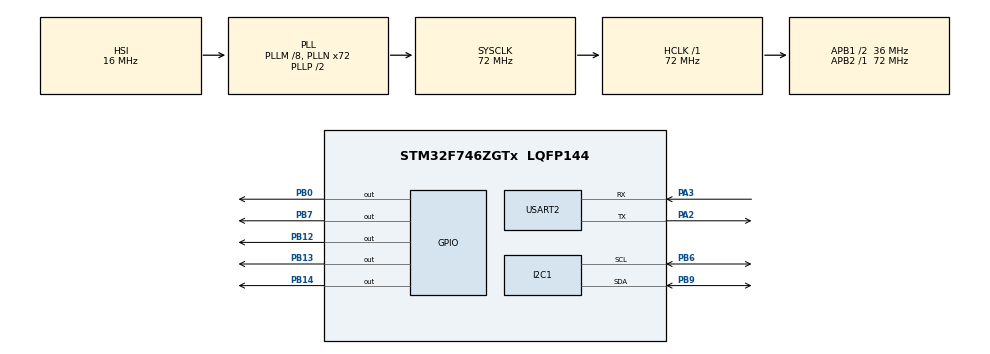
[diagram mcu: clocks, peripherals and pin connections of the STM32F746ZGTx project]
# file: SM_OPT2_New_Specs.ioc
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I2C1.Timing=0x00808CD2
Mcu.Family=STM32F7
Mcu.Name=STM32F746ZGTx
Mcu.Package=LQFP144
NVIC.I2C1_ER_IRQn=true\:0\:0\:false\:false\:true\:true\:true
NVIC.I2C1_EV_IRQn=true\:0\:0\:false\:false\:true\:true\:true
NVIC.PriorityGroup=NVIC_PRIORITYGROUP_4
NVIC.TIM2_IRQn=true\:1\:0\:true\:false\:true\:true\:true
NVIC.TIM3_IRQn=true\:0\:0\:false\:false\:true\:true\:true
NVIC.USART2_IRQn=true\:0\:0\:false\:false\:true\:true\:true
PA13.Mode=Serial_Wire
PA13.Signal=SYS_JTMS-SWDIO
PA14.Mode=Serial_Wire
PA14.Signal=SYS_JTCK-SWCLK
PA2.Mode=Asynchronous
PA2.Signal=USART2_TX
PA3.Mode=Asynchronous
PA3.Signal=USART2_RX
PB0.Signal=GPIO_Output
PB12.Signal=GPIO_Output
PB13.Signal=GPIO_Output
PB14.Signal=GPIO_Output
PB6.Mode=I2C
PB6.Signal=I2C1_SCL
PB7.Signal=GPIO_Output
PB9.Mode=I2C
PB9.Signal=I2C1_SDA
ProjectManager.HeapSize=0x200
ProjectManager.StackSize=0x400
ProjectManager.TargetToolchain=STM32CubeIDE
RCC.48MHZClocksFreq_Value=24000000
RCC.AHBFreq_Value=72000000
RCC.APB1CLKDivider=RCC_HCLK_DIV2
RCC.APB1Freq_Value=36000000
RCC.APB1TimFreq_Value=72000000
RCC.APB2Freq_Value=72000000
RCC.APB2TimFreq_Value=72000000
RCC.CortexFreq_Value=72000000
RCC.HCLKFreq_Value=72000000
RCC.HSE_VALUE=8000000
RCC.HSI_VALUE=16000000
RCC.LSE_VALUE=32768
RCC.PLLM=8
RCC.PLLMUL=RCC_PLL_MUL9
RCC.PLLN=72
RCC.PLLQ=3
RCC.PRESCALERUSB=RCC_USBCLKSOURCE_PLL_DIV1_5
RCC.SYSCLKFreq_VALUE=72000000
RCC.SYSCLKSource=RCC_SYSCLKSOURCE_PLLCLK
RCC.SYSCLKSourceVirtual=RCC_SYSCLKSOURCE_PLLCLK
RCC.USBFreq_Value=48000000
RCC.VCOOutputFreq_Value=144000000
TIM2.Period=1000-1
TIM2.Prescaler=7200-1
TIM3.Period=100-1
TIM3.Prescaler=7200-1
TIM4.Prescaler=72-1
USART2.VirtualMode-Asynchronous=VM_ASYNC
VP_TIM2_VS_ClockSourceINT.Mode=Internal
VP_TIM3_VS_ClockSourceINT.Mode=Internal
VP_TIM4_VS_ClockSourceINT.Mode=Internal
board=NUCLEO-F746ZG

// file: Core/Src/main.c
/* USER CODE BEGIN Header */
/**
 ******************************************************************************
 * @file           : main.c
 * @brief          : Main program body
 ******************************************************************************
 * @attention
 *
 * <h2><center>&copy; Copyright (c) 2021 STMicroelectronics.
 * All rights reserved.</center></h2>
 *
 * This software component is licensed by ST under BSD 3-Clause license,
 * the "License"; You may not use this file except in compliance with the
 * License. You may obtain a copy of the License at:
 *                        opensource.org/licenses/BSD-3-Clause
 *
 ******************************************************************************
 */
/* USER CODE END Header */
#include "main.h"

/* USER CODE BEGIN Includes */
#include "stdbool.h"
#include "timer_delay.h"
#include "Getbattery1asoc.h"
#include "Handle_Gpio_pins.h"
#include "Timer_function.h"

/* USER CODE END Includes */

I2C_HandleTypeDef hi2c1;

TIM_HandleTypeDef htim2;
TIM_HandleTypeDef htim3;
TIM_HandleTypeDef htim4;

UART_HandleTypeDef huart2;

/* USER CODE BEGIN PV */

// Maintenance cycle BAT 1 definitions

bool _bat1timerfunc = false;		// Flag to start and stop the 15 min wait function
bool _bat1_15min_wait_over = false;  		// To indicate 15 min delay is over
uint16_t _bat1_counter_var = 0;				//   Variable as a counter
int8_t bat1_state=0;  						// Indicates the current state in Maintenance cycle

uint16_t BAT_1_ASOC_VALUE;

bool bat1charge = false;				// Flag to start and stop charging of the battery
bool bat1discharge = false;				// Flag to start and stop discharging of the battery

bool state1guard = false;
bool state2guard = false;
bool state3guard = false;
bool state4guard = false;
bool state5guard = false;
bool state6guard = false;
bool state7guard = false;

bool Autotestflag = true;				// Flag to start automatic testing of the maintenance cycle

uint8_t rx_buffer[3];

// Maintenance cycle BAT 1 definitions - End

// Flags to update the general information of battery in Maintenance Use Case

uint16_t bat1_geninfo_cycle_counter = 0;
uint16_t bat1_geninfo_asoc_counter = 0;
uint16_t bat1_geninfo_remainingcapacity_counter = 0;
uint16_t bat1_geninfo_voltage_counter = 0;
uint16_t bat1_geninfo_temperature_counter = 0;
uint16_t bat1_geninfo_batterystatus_counter = 0;

bool bat1_geninfo_cycle_flag = false;
bool bat1_geninfo_asoc_flag = false;
bool bat1_geninfo_remainingcapacity_flag = false;
bool bat1_geninfo_voltage_flag = false;
bool bat1_geninfo_temperature_flag = false;
bool bat1_geninfo_batterystatus_flag = false;

// Flags to update the general information of battery in Maintenance Use Case

uint8_t tx_asoc[1]={0x0E}; 					// 0x0E   Command to get ASOC of the battery
uint8_t tx_voltage[1]={0x09};				// 0x09   Command to get battery voltage
uint8_t tx_current[1]={0x0A};				// 0x0A   Command to get battery current
uint8_t tx_temperature[1]={0x08};			// 0x08
uint8_t tx_battery_status[1]={0x16};		// 0x16
uint8_t tx_remaining_capacity[1]={0x0F};	// 0x0F
uint8_t tx_cyclecount[1]={0x17};			// 0x17
uint8_t tx_serial_number[1]={0x1C};			// 0x1C
uint8_t tx_manufacturer_date[1]={0x1B};		// 0x1B
uint8_t tx_full_charge_capacity[1]={0x10};	// 0x10
uint8_t tx_design_capacity[1]={0x18};		// 0x18
uint8_t tx_run_timet_to_empty[1]={0x11};	// 0x11

uint16_t Bat1_Volt_Maint_GI;  //16 bit value
uint8_t Bat1_Asoc_Maint_GI;   // 8 bit value
int16_t Bat1_Temperature_Maint_GI;
uint16_t Bat1_RemCapacity_Maint_GI;
uint16_t Bat1_Cyclecount_Maint_GI;

float temp;

/* USER CODE END PV */

void SystemClock_Config(void);
static void MX_GPIO_Init(void);
static void MX_I2C1_Init(void);
static void MX_TIM3_Init(void);
static void MX_TIM4_Init(void);
static void MX_USART2_UART_Init(void);
static void MX_TIM2_Init(void);

int main(void)
{

	/* MCU Configuration--------------------------------------------------------*/

	/* Reset of all peripherals, Initializes the Flash interface and the Systick. */
	HAL_Init();

	/* Configure the system clock */
	SystemClock_Config();

	/* Initialize all configured peripherals */
	MX_GPIO_Init();
	MX_I2C1_Init();
	MX_TIM3_Init();
	MX_TIM4_Init();
	MX_USART2_UART_Init();
	MX_TIM2_Init();
	/* USER CODE BEGIN 2 */
	HAL_TIM_Base_Start(&htim4);        // Timer 4 for providing delay
	HAL_TIM_Base_Start_IT(&htim3);	   // Timer 3 for waiting purpose in the maintenance case
	HAL_TIM_Base_Start_IT(&htim2);	   // Timer 2 to update the maintenance use case parameters periodically

	if(HAL_I2C_IsDeviceReady(&hi2c1,0x16, 5, 10)==HAL_OK)
	{

		HAL_GPIO_WritePin(GPIOB, GPIO_PIN_7, GPIO_PIN_SET);

	}

	__HAL_UART_ENABLE_IT(&huart2,UART_IT_RXNE);

	/* USER CODE END 2 */
	HAL_GPIO_WritePin(GPIOB, GPIO_PIN_12, GPIO_PIN_SET);
	/* Infinite loop */
	/* USER CODE BEGIN WHILE */
	while (1)
	{

		// Maintenance cycle
		//	  		switch(bat1_state)
		//	  		{
		//
		//	  		case 0:
		//
		//	  			bat1charge = false;
		//	  			bat1discharge = false;
		//	  			gpio_func();
		//
		//	  			if(Autotestflag==true)
		//	  			{
		//	  				getbattery1asoc();
		//	  				if(BAT_1_ASOC_VALUE==77)
		//	  				{
		//	  					bat1_state = 1;
		//	  				}
		//
		//	  				else if(BAT_1_ASOC_VALUE <77)
		//	  				{
		//	  					bat1_state = 2;
		//	  				}
		//
		//	  				else if(BAT_1_ASOC_VALUE >77)
		//	  				{
		//	  					bat1_state = 3;
		//	  				}
		//	  			}
		//
		//	  			break;
		//
		//	  		case 1:
		//
		//	  			if(state1guard == false)
		//	  			{
		//	  				bat1charge = false;
		//	  				bat1discharge = false;
		//	  				gpio_func();
		//	  				_bat1timerfunc = true;
		//	  				state1guard = true;
		//	  			}
		//
		//	  			else if(state1guard == true)
		//	  			{
		//	  				if(_bat1_15min_wait_over==true)
		//	  				{
		//	  					bat1_state = 4;
		//	  					state1guard = false;
		//	  				}
		//	  			}
		//
		//	  			break;
		//
		//	  		case 2:
		//
		//	  			if(state2guard == false)
		//	  			{
		//	  				bat1charge = true;
		//	  				bat1discharge = false;
		//	  				gpio_func();
		//	  				state2guard = true;
		//	  			}
		//
		//	  			else if(state2guard == true)
		//	  			{
		//	  				getbattery1asoc();
		//	  				if(BAT_1_ASOC_VALUE == 77)
		//	  				{
		//	  					bat1_state = 1;
		//	  					state2guard = false;
		//	  				}
		//	  			}
		//	  			break;
		//
		//
		//
		//
		//	  		case 3:
		//	  			if(state3guard == false)
		//	  			{
		//	  				bat1discharge = true;
		//	  				bat1charge = false;
		//	  				gpio_func();
		//	  				state3guard = true;
		//	  			}
		//
		//	  			else if(state3guard == true)
		//	  			{
		//	  				getbattery1asoc();
		//	  				if(BAT_1_ASOC_VALUE == 77)
		//	  				{
		//	  					bat1_state = 1;
		//	  					state3guard = false;
		//	  				}
		//	  			}
		//	  			break;
		//
		//	  		case 4:
		//
		//	  			if(state4guard==false)
		//	  			{
		//	  				bat1discharge = true;
		//	  				bat1charge = false;
		//	  				gpio_func();
		//	  				state4guard = true;
		//	  				_bat1timerfunc=false;
		//	  				_bat1_15min_wait_over=false;
		//	  				_bat1_counter_var = 0;
		//	  			}
		//
		//	  			else if(state4guard==true)
		//	  			{
		//
		//	  				getbattery1asoc();
		//	  				if(BAT_1_ASOC_VALUE==75)
		//	  				{
		//	  					bat1_state = 5;
		//	  					state4guard=false;
		//	  				}
		//
		//	  			}
		//	  			break;
		//
		//	  		case 5:
		//	  			if(state5guard==false)
		//	  			{
		//	  				bat1charge=false;
		//	  				bat1discharge=false;
		//	  				gpio_func();
		//	  				_bat1timerfunc=true;
		//	  				state5guard=true;
		//	  			}
		//	  			else if(state5guard==true)
		//	  			{
		//
		//	  				if(_bat1_15min_wait_over==true)
		//	  				{
		//	  					bat1_state=6;
		//	  					state5guard=false;
		//	  				}
		//	  			}
		//	  			break;
		//
		//	  		case 6:
		//	  			if(state6guard == false)
		//	  			{
		//	  				bat1charge=true;
		//	  				bat1discharge=false;
		//	  				gpio_func();
		//	  				state6guard = true;
		//	  				_bat1timerfunc = false;
		//	  				_bat1_15min_wait_over=false;
		//	  				_bat1_counter_var = 0;
		//	  			}
		//	  			else if(state6guard==true)
		//	  			{
		//	  				getbattery1asoc();
		//	  				if(BAT_1_ASOC_VALUE==77)
		//	  				{
		//	  					bat1_state=7;
		//	  					state6guard=false;
		//	  				}
		//	  			}
		//	  			break;
		//
		//	  		case 7:
		//	  			if(state7guard==false)
		//	  			{
		//	  				bat1discharge=false;
		//	  				bat1charge=false;
		//	  				gpio_func();
		//	  				_bat1timerfunc=true;
		//	  				state7guard=true;
		//
		//	  			}
		//	  			else if(state7guard==true)
		//	  			{
		//	  				if(_bat1_15min_wait_over==true)
		//	  				{
		//	  					bat1_state=0;
		//	  					state7guard=false;
		//	  					_bat1timerfunc=false;
		//	  					_bat1_15min_wait_over=false;
		//	  					_bat1_counter_var = 0;
		//	  					Autotestflag = false;
		//
		//	  				}
		//	  			}
		//	  			break;
		//
		//	  		default:
		//	  			bat1_state = 0;
		//	  			break;
		//	  		}
		//
		//	  		msdelay(10);

		// Maintenance cycle End /////////////////////

		//HAL_UART_Transmit_IT(&huart2, tx, 2);
		//msdelay(100);

		/* Works with GUI on the Pi Start

		uint8_t tx[1]={0x09};
		uint8_t rx[2]={0x00};

		HAL_I2C_Master_Transmit_IT(&hi2c1, 0x16, tx, 1);
		msdelay(5);
		HAL_I2C_Master_Receive_IT(&hi2c1, 0x16, rx, 2);
		msdelay(1);

		voltage = rx[1];
		voltage = voltage << 8; //--
		voltage  = voltage + rx[0]; //--

		uint8_t tx2[1]={0x0A};
		uint8_t rx2[2]={0x00};
		HAL_I2C_Master_Transmit_IT(&hi2c1, 0x16, tx2, 1);
		msdelay(5);
		HAL_I2C_Master_Receive_IT(&hi2c1, 0x16, rx2, 2);
		msdelay(1);
		 current  = rx2[1];
		current = current << 8;
		current = current  + rx2[0];

		uint8_t tx3[1]={0x0D};
		uint8_t rx3[1]={0x00};
		HAL_I2C_Master_Transmit_IT(&hi2c1, 0x16, tx3, 1);
		msdelay(5);
		HAL_I2C_Master_Receive_IT(&hi2c1, 0x16, rx3,2);
		msdelay(1);
		 rsoc  = rx3[0];

		uint8_t tx6[1]={0x0E};
		uint8_t rx6[2]={0x00};
		HAL_I2C_Master_Transmit_IT(&hi2c1, 0x16, tx6, 1);
		msdelay(5);
		HAL_I2C_Master_Receive_IT(&hi2c1, 0x16, rx6, 2);
		msdelay(1);
		 asoc  = rx6[0];

		uint8_t t2x[6];
		t2x[0]=rx[1];
		t2x[1]=rx[0];
		t2x[2]=rx2[1];
		t2x[3]=rx2[0];
		t2x[4]=rx3[0];
		t2x[5]=rx6[0];

		HAL_UART_Transmit_IT(&huart2, t2x, 6);
		msdelay(500);
		rx6[0]=0;

		rx3[0]=0;

		rx2[0]=0;
		rx2[1]=0;
		rx[1]=0;
		rx[0]=0;
 Works with GUI on the Pi end
		 */

		// Update ASOC  -  General Info Bat 1 Maintenance Use Case
		if(bat1_geninfo_asoc_flag==true)
		{
			bat1_geninfo_asoc_flag=false;

			uint8_t rx_geninfo_asoc[1]={0x00};
			HAL_I2C_Master_Transmit_IT(&hi2c1, 0x16, tx_asoc, 1);
			msdelay(5);
			HAL_I2C_Master_Receive_IT(&hi2c1, 0x16, rx_geninfo_asoc, 1);
			msdelay(1);
			Bat1_Asoc_Maint_GI= rx_geninfo_asoc[0];

			uint8_t transmit_asoc[2]={0x00};
			transmit_asoc[0]='A';
			transmit_asoc[1]=rx_geninfo_asoc[0];
			HAL_UART_Transmit_IT(&huart2, transmit_asoc, 2);
			rx_geninfo_asoc[0]=0;

		}

		// Update Voltage  -  General Info Bat 1 Maintenance Use Case
		if(bat1_geninfo_voltage_flag==true)
		{
			bat1_geninfo_voltage_flag=false;

			uint8_t rx_geninfo_voltage[2]={0x00};
			HAL_I2C_Master_Transmit_IT(&hi2c1, 0x16, tx_voltage, 1);
			msdelay(5);
			HAL_I2C_Master_Receive_IT(&hi2c1, 0x16, rx_geninfo_voltage, 2);
			msdelay(1);
			Bat1_Volt_Maint_GI = rx_geninfo_voltage[1];
			Bat1_Volt_Maint_GI = Bat1_Volt_Maint_GI << 8;
			Bat1_Volt_Maint_GI = Bat1_Volt_Maint_GI + rx_geninfo_voltage[0];

			uint8_t transmit_volt[3]={0x00};
			transmit_volt[0]='V';
			transmit_volt[1]=rx_geninfo_voltage[1];
			transmit_volt[2]=rx_geninfo_voltage[0];
			HAL_UART_Transmit_IT(&huart2, transmit_volt, 3);
			rx_geninfo_voltage[0]=0;
			rx_geninfo_voltage[1]=0;

		}

		// Update Remaining Capacity - General Info Bat 1 Maintenance Use Case

		if(bat1_geninfo_remainingcapacity_flag==true)
		{
			bat1_geninfo_remainingcapacity_flag=false;

			uint8_t rx_geninfo_remcapacity[2]={0x00,0x00};
			HAL_I2C_Master_Transmit_IT(&hi2c1, 0x16, tx_remaining_capacity, 1);
			msdelay(5);
			HAL_I2C_Master_Receive_IT(&hi2c1, 0x16, rx_geninfo_remcapacity, 2);
			msdelay(1);
			Bat1_RemCapacity_Maint_GI = rx_geninfo_remcapacity[1];
			Bat1_RemCapacity_Maint_GI = Bat1_RemCapacity_Maint_GI << 8;
			Bat1_RemCapacity_Maint_GI = Bat1_RemCapacity_Maint_GI + rx_geninfo_remcapacity[0];

			uint8_t transmit_remcapacity[3]={0x00,0x00};
			transmit_remcapacity[0]='R';
			transmit_remcapacity[1]=rx_geninfo_remcapacity[1];
			transmit_remcapacity[2]=rx_geninfo_remcapacity[0];
			HAL_UART_Transmit_IT(&huart2, transmit_remcapacity, 3);
			rx_geninfo_remcapacity[0]=0;
			rx_geninfo_remcapacity[1]=0;

		}

		// Update Temperature - General Info Bat 1 Maintenance Use Case

		if(bat1_geninfo_temperature_flag==true)
		{
			bat1_geninfo_temperature_flag=0;

			uint8_t	rx_geninfo_temperature[2]={0x00,0x00};
			HAL_I2C_Master_Transmit_IT(&hi2c1, 0x16,tx_temperature, 1);
			msdelay(5);
			HAL_I2C_Master_Receive_IT(&hi2c1, 0x16, rx_geninfo_temperature, 2);
			msdelay(1);
			Bat1_Temperature_Maint_GI = rx_geninfo_temperature[1];
			Bat1_Temperature_Maint_GI = Bat1_Temperature_Maint_GI << 8;
			Bat1_Temperature_Maint_GI = Bat1_Temperature_Maint_GI + rx_geninfo_temperature[0];
			temp = (float)(Bat1_Temperature_Maint_GI/10.0)-273.15;

			uint8_t transmit_temperature[3]={0x00,0x00};
			transmit_temperature[0]='T';
			transmit_temperature[1]=rx_geninfo_temperature[1];
			transmit_temperature[2]= rx_geninfo_temperature[0];
			HAL_UART_Transmit_IT(&huart2, transmit_temperature, 3);
			rx_geninfo_temperature[1]=0;
			rx_geninfo_temperature[0]=0;

		}

		// Update Cycle Count - General Info Bat 1 Maintenance Use Case

		if(bat1_geninfo_cycle_flag==true)
		{
			bat1_geninfo_cycle_flag= false;

			uint8_t rx_getinfo_cyclecount[2]={0x00,0x00};
			HAL_I2C_Master_Transmit_IT(&hi2c1, 0x16,tx_cyclecount, 1);
			msdelay(5);
			HAL_I2C_Master_Receive_IT(&hi2c1, 0x16, rx_getinfo_cyclecount, 2);
			msdelay(1);
			Bat1_Cyclecount_Maint_GI = rx_getinfo_cyclecount[1];
			Bat1_Cyclecount_Maint_GI = Bat1_Cyclecount_Maint_GI << 8;
			Bat1_Cyclecount_Maint_GI = Bat1_Cyclecount_Maint_GI + rx_getinfo_cyclecount[0];

			uint8_t transmit_cyclecount[3]={0x00,0x00};
			transmit_cyclecount[0]='C';
			transmit_cyclecount[1]=rx_getinfo_cyclecount[1];
			transmit_cyclecount[2]=rx_getinfo_cyclecount[0];
			HAL_UART_Transmit_IT(&huart2, transmit_cyclecount, 3);
			rx_getinfo_cyclecount[1]=0;
			rx_getinfo_cyclecount[0]=0;

		}

	}
}
/* USER CODE END WHILE */

void SystemClock_Config(void)
{
	RCC_OscInitTypeDef RCC_OscInitStruct = {0};
	RCC_ClkInitTypeDef RCC_ClkInitStruct = {0};
	RCC_PeriphCLKInitTypeDef PeriphClkInitStruct = {0};

	/** Configure the main internal regulator output voltage
	 */
	__HAL_RCC_PWR_CLK_ENABLE();
	__HAL_PWR_VOLTAGESCALING_CONFIG(PWR_REGULATOR_VOLTAGE_SCALE3);
	/** Initializes the RCC Oscillators according to the specified parameters
	 * in the RCC_OscInitTypeDef structure.
	 */
	RCC_OscInitStruct.OscillatorType = RCC_OSCILLATORTYPE_HSI;
	RCC_OscInitStruct.HSIState = RCC_HSI_ON;
	RCC_OscInitStruct.HSICalibrationValue = RCC_HSICALIBRATION_DEFAULT;
	RCC_OscInitStruct.PLL.PLLState = RCC_PLL_ON;
	RCC_OscInitStruct.PLL.PLLSource = RCC_PLLSOURCE_HSI;
	RCC_OscInitStruct.PLL.PLLM = 8;
	RCC_OscInitStruct.PLL.PLLN = 72;
	RCC_OscInitStruct.PLL.PLLP = RCC_PLLP_DIV2;
	RCC_OscInitStruct.PLL.PLLQ = 3;
	if (HAL_RCC_OscConfig(&RCC_OscInitStruct) != HAL_OK)
	{
		Error_Handler();
	}
	/** Initializes the CPU, AHB and APB buses clocks
	 */
	RCC_ClkInitStruct.ClockType = RCC_CLOCKTYPE_HCLK|RCC_CLOCKTYPE_SYSCLK
			|RCC_CLOCKTYPE_PCLK1|RCC_CLOCKTYPE_PCLK2;
	RCC_ClkInitStruct.SYSCLKSource = RCC_SYSCLKSOURCE_PLLCLK;
	RCC_ClkInitStruct.AHBCLKDivider = RCC_SYSCLK_DIV1;
	RCC_ClkInitStruct.APB1CLKDivider = RCC_HCLK_DIV2;
	RCC_ClkInitStruct.APB2CLKDivider = RCC_HCLK_DIV1;

	if (HAL_RCC_ClockConfig(&RCC_ClkInitStruct, FLASH_LATENCY_2) != HAL_OK)
	{
		Error_Handler();
	}
	PeriphClkInitStruct.PeriphClockSelection = RCC_PERIPHCLK_USART2|RCC_PERIPHCLK_I2C1;
	PeriphClkInitStruct.Usart2ClockSelection = RCC_USART2CLKSOURCE_PCLK1;
	PeriphClkInitStruct.I2c1ClockSelection = RCC_I2C1CLKSOURCE_PCLK1;
	if (HAL_RCCEx_PeriphCLKConfig(&PeriphClkInitStruct) != HAL_OK)
	{
		Error_Handler();
	}
}

static void MX_I2C1_Init(void)
{

	hi2c1.Instance = I2C1;
	hi2c1.Init.Timing = 0x00808CD2;
	hi2c1.Init.OwnAddress1 = 0;
	hi2c1.Init.AddressingMode = I2C_ADDRESSINGMODE_7BIT;
	hi2c1.Init.DualAddressMode = I2C_DUALADDRESS_DISABLE;
	hi2c1.Init.OwnAddress2 = 0;
	hi2c1.Init.OwnAddress2Masks = I2C_OA2_NOMASK;
	hi2c1.Init.GeneralCallMode = I2C_GENERALCALL_DISABLE;
	hi2c1.Init.NoStretchMode = I2C_NOSTRETCH_DISABLE;
	if (HAL_I2C_Init(&hi2c1) != HAL_OK)
	{
		Error_Handler();
	}
	/** Configure Analogue filter
	 */
	if (HAL_I2CEx_ConfigAnalogFilter(&hi2c1, I2C_ANALOGFILTER_ENABLE) != HAL_OK)
	{
		Error_Handler();
	}
	/** Configure Digital filter
	 */
	if (HAL_I2CEx_ConfigDigitalFilter(&hi2c1, 0) != HAL_OK)
	{
		Error_Handler();
	}

}

static void MX_TIM2_Init(void)
{

	TIM_ClockConfigTypeDef sClockSourceConfig = {0};
	TIM_MasterConfigTypeDef sMasterConfig = {0};

	htim2.Instance = TIM2;
	htim2.Init.Prescaler = 7200-1;
	htim2.Init.CounterMode = TIM_COUNTERMODE_UP;
	htim2.Init.Period = 1000-1;
	htim2.Init.ClockDivision = TIM_CLOCKDIVISION_DIV1;
	htim2.Init.AutoReloadPreload = TIM_AUTORELOAD_PRELOAD_DISABLE;
	if (HAL_TIM_Base_Init(&htim2) != HAL_OK)
	{
		Error_Handler();
	}
	sClockSourceConfig.ClockSource = TIM_CLOCKSOURCE_INTERNAL;
	if (HAL_TIM_ConfigClockSource(&htim2, &sClockSourceConfig) != HAL_OK)
	{
		Error_Handler();
	}
	sMasterConfig.MasterOutputTrigger = TIM_TRGO_RESET;
	sMasterConfig.MasterSlaveMode = TIM_MASTERSLAVEMODE_DISABLE;
	if (HAL_TIMEx_MasterConfigSynchronization(&htim2, &sMasterConfig) != HAL_OK)
	{
		Error_Handler();
	}

}

static void MX_TIM3_Init(void)
{

	TIM_ClockConfigTypeDef sClockSourceConfig = {0};
	TIM_MasterConfigTypeDef sMasterConfig = {0};

	htim3.Instance = TIM3;
	htim3.Init.Prescaler = 7200-1;
	htim3.Init.CounterMode = TIM_COUNTERMODE_UP;
	htim3.Init.Period = 100-1;
	htim3.Init.ClockDivision = TIM_CLOCKDIVISION_DIV1;
	htim3.Init.AutoReloadPreload = TIM_AUTORELOAD_PRELOAD_DISABLE;
	if (HAL_TIM_Base_Init(&htim3) != HAL_OK)
	{
		Error_Handler();
	}
	sClockSourceConfig.ClockSource = TIM_CLOCKSOURCE_INTERNAL;
	if (HAL_TIM_ConfigClockSource(&htim3, &sClockSourceConfig) != HAL_OK)
	{
		Error_Handler();
	}
	sMasterConfig.MasterOutputTrigger = TIM_TRGO_RESET;
	sMasterConfig.MasterSlaveMode = TIM_MASTERSLAVEMODE_DISABLE;
	if (HAL_TIMEx_MasterConfigSynchronization(&htim3, &sMasterConfig) != HAL_OK)
	{
		Error_Handler();
	}

}

static void MX_TIM4_Init(void)
{

	TIM_ClockConfigTypeDef sClockSourceConfig = {0};
	TIM_MasterConfigTypeDef sMasterConfig = {0};

	htim4.Instance = TIM4;
	htim4.Init.Prescaler = 72-1;
	htim4.Init.CounterMode = TIM_COUNTERMODE_UP;
	htim4.Init.Period = 65535;
	htim4.Init.ClockDivision = TIM_CLOCKDIVISION_DIV1;
	htim4.Init.AutoReloadPreload = TIM_AUTORELOAD_PRELOAD_DISABLE;
	if (HAL_TIM_Base_Init(&htim4) != HAL_OK)
	{
		Error_Handler();
	}
	sClockSourceConfig.ClockSource = TIM_CLOCKSOURCE_INTERNAL;
	if (HAL_TIM_ConfigClockSource(&htim4, &sClockSourceConfig) != HAL_OK)
	{
		Error_Handler();
	}
	sMasterConfig.MasterOutputTrigger = TIM_TRGO_RESET;
	sMasterConfig.MasterSlaveMode = TIM_MASTERSLAVEMODE_DISABLE;
	if (HAL_TIMEx_MasterConfigSynchronization(&htim4, &sMasterConfig) != HAL_OK)
	{
		Error_Handler();
	}

}

static void MX_USART2_UART_Init(void)
{

	huart2.Instance = USART2;
	huart2.Init.BaudRate = 115200;
	huart2.Init.WordLength = UART_WORDLENGTH_8B;
	huart2.Init.StopBits = UART_STOPBITS_1;
	huart2.Init.Parity = UART_PARITY_NONE;
	huart2.Init.Mode = UART_MODE_TX_RX;
	huart2.Init.HwFlowCtl = UART_HWCONTROL_NONE;
	huart2.Init.OverSampling = UART_OVERSAMPLING_16;
	huart2.Init.OneBitSampling = UART_ONE_BIT_SAMPLE_DISABLE;
	huart2.AdvancedInit.AdvFeatureInit = UART_ADVFEATURE_NO_INIT;
	if (HAL_UART_Init(&huart2) != HAL_OK)
	{
		Error_Handler();
	}

}

static void MX_GPIO_Init(void)
{
	GPIO_InitTypeDef GPIO_InitStruct = {0};

	/* GPIO Ports Clock Enable */
	__HAL_RCC_GPIOA_CLK_ENABLE();
	__HAL_RCC_GPIOB_CLK_ENABLE();

	/*Configure GPIO pin Output Level */
	HAL_GPIO_WritePin(GPIOB, GPIO_PIN_0|GPIO_PIN_12|GPIO_PIN_13|GPIO_PIN_14
			|GPIO_PIN_7, GPIO_PIN_RESET);

	/*Configure GPIO pins : PB0 PB12 PB13 PB14
                           PB7 */
	GPIO_InitStruct.Pin = GPIO_PIN_0|GPIO_PIN_12|GPIO_PIN_13|GPIO_PIN_14
			|GPIO_PIN_7;
	GPIO_InitStruct.Mode = GPIO_MODE_OUTPUT_PP;
	GPIO_InitStruct.Pull = GPIO_NOPULL;
	GPIO_InitStruct.Speed = GPIO_SPEED_FREQ_LOW;
	HAL_GPIO_Init(GPIOB, &GPIO_InitStruct);

}

/* USER CODE BEGIN 4 */
void HAL_TIM_PeriodElapsedCallback(TIM_HandleTypeDef *htim)  // 16-bit TIM3 is used as an interrupt - every 10 ms
{
	if(htim==&htim3)
	{
		Timer_15min();

	}

	if(htim==&htim2)
	{

		bat1_geninfo_asoc_counter++;
		bat1_geninfo_voltage_counter++;
		bat1_geninfo_remainingcapacity_counter++;
		bat1_geninfo_temperature_counter++;
		bat1_geninfo_cycle_counter++;

		if(bat1_geninfo_asoc_counter==100)
		{
			bat1_geninfo_asoc_counter=0;
			bat1_geninfo_asoc_flag=true;
		}

		if(bat1_geninfo_voltage_counter==50)  // update time - 2 minutes
		{
			bat1_geninfo_voltage_counter=0;
			bat1_geninfo_voltage_flag=true;
		}

		if(bat1_geninfo_remainingcapacity_counter==70)
		{
			bat1_geninfo_remainingcapacity_counter=0;
			bat1_geninfo_remainingcapacity_flag=true;
		}
		if(bat1_geninfo_temperature_counter==10)
		{
			bat1_geninfo_temperature_counter=0;
			bat1_geninfo_temperature_flag=true;
		}
		if(bat1_geninfo_cycle_counter==400)
		{
			bat1_geninfo_cycle_counter=0;
			bat1_geninfo_cycle_flag=true;
		}

	}
}

void HAL_UART_RxCpltCallback(UART_HandleTypeDef *huart)
{
	/* Prevent unused argument(s) compilation warning */
	// UNUSED(huart);
	if(rx_buffer[0]=='B' && rx_buffer[1]=='1' && rx_buffer[2]=='M')
	{
		Autotestflag=true;
	}
	else
	{
		Autotestflag=false;
	}

}
/* USER CODE END 4 */

void Error_Handler(void)
{
	__disable_irq();
	while (1)
	{
	}
}

/************************ (C) COPYRIGHT STMicroelectronics *****END OF FILE****/
